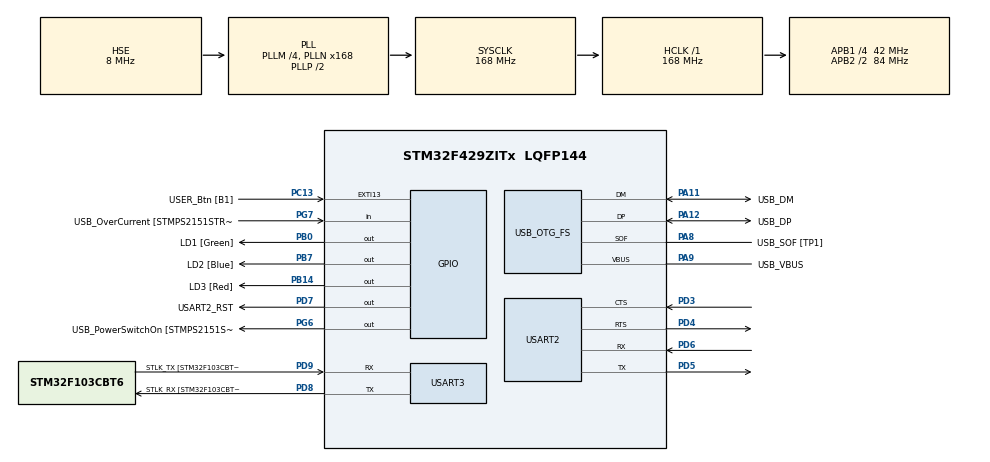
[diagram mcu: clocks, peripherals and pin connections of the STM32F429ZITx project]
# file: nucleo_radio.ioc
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Dma.Request0=USART2_RX
Dma.Request1=USART2_TX
Dma.USART2_RX.0.Direction=DMA_PERIPH_TO_MEMORY
Dma.USART2_RX.0.FIFOMode=DMA_FIFOMODE_DISABLE
Dma.USART2_RX.0.Instance=DMA1_Stream5
Dma.USART2_RX.0.MemDataAlignment=DMA_MDATAALIGN_BYTE
Dma.USART2_RX.0.MemInc=DMA_MINC_ENABLE
Dma.USART2_RX.0.Mode=DMA_NORMAL
Dma.USART2_RX.0.PeriphDataAlignment=DMA_PDATAALIGN_BYTE
Dma.USART2_RX.0.PeriphInc=DMA_PINC_DISABLE
Dma.USART2_RX.0.Priority=DMA_PRIORITY_LOW
Dma.USART2_TX.1.Direction=DMA_MEMORY_TO_PERIPH
Dma.USART2_TX.1.FIFOMode=DMA_FIFOMODE_DISABLE
Dma.USART2_TX.1.Instance=DMA1_Stream6
Dma.USART2_TX.1.MemDataAlignment=DMA_MDATAALIGN_BYTE
Dma.USART2_TX.1.MemInc=DMA_MINC_ENABLE
Dma.USART2_TX.1.Mode=DMA_NORMAL
Dma.USART2_TX.1.PeriphDataAlignment=DMA_PDATAALIGN_BYTE
Dma.USART2_TX.1.PeriphInc=DMA_PINC_DISABLE
Dma.USART2_TX.1.Priority=DMA_PRIORITY_LOW
Mcu.Family=STM32F4
Mcu.Name=STM32F429ZITx
Mcu.Package=LQFP144
NVIC.DMA1_Stream5_IRQn=true\:0\:0\:false\:true\:true\:1\:false\:true
NVIC.DMA1_Stream6_IRQn=true\:0\:0\:false\:true\:true\:2\:false\:true
NVIC.OTG_FS_IRQn=true\:0\:0\:false\:true\:true\:4\:false\:true
NVIC.PriorityGroup=NVIC_PRIORITYGROUP_4
NVIC.USART2_IRQn=true\:0\:0\:false\:true\:true\:3\:true\:true
PA1.GPIO_Label=RMII_REF_CLK [LAN8742A-CZ-TR_REFCLK0]
PA1.Signal=ETH_REF_CLK
PA10.GPIO_Label=USB_ID
PA10.Signal=USB_OTG_FS_ID
PA11.GPIO_Label=USB_DM
PA11.Mode=Device_Only
PA11.Signal=USB_OTG_FS_DM
PA12.GPIO_Label=USB_DP
PA12.Mode=Device_Only
PA12.Signal=USB_OTG_FS_DP
PA13.GPIO_Label=TMS
PA13.Mode=Serial_Wire
PA13.Signal=SYS_JTMS-SWDIO
PA14.GPIO_Label=TCK
PA14.Mode=Serial_Wire
PA14.Signal=SYS_JTCK-SWCLK
PA2.GPIO_Label=RMII_MDIO [LAN8742A-CZ-TR_MDIO]
PA2.Signal=ETH_MDIO
PA7.GPIO_Label=RMII_CRS_DV [LAN8742A-CZ-TR_CRS_DV]
PA7.Signal=ETH_CRS_DV
PA8.GPIO_Label=USB_SOF [TP1]
PA8.Mode=Activate_SOF_FS
PA8.Signal=USB_OTG_FS_SOF
PA9.GPIO_Label=USB_VBUS
PA9.Mode=Activate_VBUS
PA9.Signal=USB_OTG_FS_VBUS
PB0.GPIO_Label=LD1 [Green]
PB0.Signal=GPIO_Output
PB13.GPIO_Label=RMII_TXD1 [LAN8742A-CZ-TR_TXD1]
PB13.Signal=ETH_TXD1
PB14.GPIO_Label=LD3 [Red]
PB14.Signal=GPIO_Output
PB7.GPIO_Label=LD2 [Blue]
PB7.Signal=GPIO_Output
PC1.GPIO_Label=RMII_MDC [LAN8742A-CZ-TR_MDC]
PC1.Signal=ETH_MDC
PC13.GPIO_Label=USER_Btn [B1]
PC13.Signal=GPXTI13
PC14/OSC32_IN.Mode=LSE-External-Oscillator
PC14/OSC32_IN.Signal=RCC_OSC32_IN
PC15/OSC32_OUT.Mode=LSE-External-Oscillator
PC15/OSC32_OUT.Signal=RCC_OSC32_OUT
PC4.GPIO_Label=RMII_RXD0 [LAN8742A-CZ-TR_RXD0]
PC4.Signal=ETH_RXD0
PC5.GPIO_Label=RMII_RXD1 [LAN8742A-CZ-TR_RXD1]
PC5.Signal=ETH_RXD1
PD3.Mode=CTS_RTS
PD3.Signal=USART2_CTS
PD4.Mode=CTS_RTS
PD4.Signal=USART2_RTS
PD5.Mode=Asynchronous
PD5.Signal=USART2_TX
PD6.Mode=Asynchronous
PD6.Signal=USART2_RX
PD7.GPIO_Label=USART2_RST
PD7.GPIO_ModeDefaultOutputPP=GPIO_MODE_OUTPUT_OD
PD7.Signal=GPIO_Output
PD8.GPIO_Label=STLK_RX [STM32F103CBT6_PA3]
PD8.Mode=Asynchronous
PD8.Signal=USART3_TX
PD9.GPIO_Label=STLK_TX [STM32F103CBT6_PA2]
PD9.Mode=Asynchronous
PD9.Signal=USART3_RX
PG11.GPIO_Label=RMII_TX_EN [LAN8742A-CZ-TR_TXEN]
PG11.Signal=ETH_TX_EN
PG13.GPIO_Label=RMII_TXD0 [LAN8742A-CZ-TR_TXD0]
PG13.Signal=ETH_TXD0
PG6.GPIO_Label=USB_PowerSwitchOn [STMPS2151STR_EN]
PG6.Signal=GPIO_Output
PG7.GPIO_Label=USB_OverCurrent [STMPS2151STR_FAULT]
PG7.Signal=GPIO_Input
PH0/OSC_IN.GPIO_Label=MCO [STM32F103CBT6_PA8]
PH0/OSC_IN.Mode=HSE-External-Clock-Source
PH0/OSC_IN.Signal=RCC_OSC_IN
PH1/OSC_OUT.Mode=HSE-External-Clock-Source
PH1/OSC_OUT.Signal=RCC_OSC_OUT
ProjectManager.HeapSize=0x10000
ProjectManager.StackSize=0x10000
ProjectManager.TargetToolchain=STM32CubeIDE
RCC.48MHZClocksFreq_Value=48000000
RCC.AHBFreq_Value=168000000
RCC.APB1CLKDivider=RCC_HCLK_DIV4
RCC.APB1Freq_Value=42000000
RCC.APB1TimFreq_Value=84000000
RCC.APB2CLKDivider=RCC_HCLK_DIV2
RCC.APB2Freq_Value=84000000
RCC.APB2TimCLKDivider=2
RCC.APB2TimFreq_Value=168000000
RCC.CortexFreq_Value=168000000
RCC.HCLKFreq_Value=168000000
RCC.HSE_VALUE=8000000
RCC.HSI_VALUE=16000000
RCC.PLLM=4
RCC.PLLMUL=RCC_PLL_MUL9
RCC.PLLN=168
RCC.PLLQ=7
RCC.PRESCALERUSB=RCC_USBCLKSOURCE_PLL_DIV1_5
RCC.SYSCLKFreq_VALUE=168000000
RCC.SYSCLKSource=RCC_SYSCLKSOURCE_PLLCLK
RCC.SYSCLKSourceVirtual=RCC_SYSCLKSOURCE_PLLCLK
RCC.USBFreq_Value=48000000
RCC.VCOOutputFreq_Value=336000000
USART2.VirtualMode=VM_ASYNC
USART3.VirtualMode=VM_ASYNC
USB_DEVICE.CLASS_NAME_FS=CDC
USB_DEVICE.VirtualMode-CDC_FS=Cdc
USB_DEVICE.VirtualModeFS=Cdc_FS
USB_OTG_FS.VirtualMode=Device_Only
VP_USB_DEVICE_VS_USB_DEVICE_CDC_FS.Mode=CDC_FS
board=NUCLEO-F429ZI

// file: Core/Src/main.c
/* USER CODE BEGIN Header */
/**
  ******************************************************************************
  * @file           : main.c
  * @brief          : Main program body
  ******************************************************************************
  * @attention
  *
  * <h2><center>&copy; Copyright (c) 2022 STMicroelectronics.
  * All rights reserved.</center></h2>
  *
  * This software component is licensed by ST under Ultimate Liberty license
  * SLA0044, the "License"; You may not use this file except in compliance with
  * the License. You may obtain a copy of the License at:
  *                             www.st.com/SLA0044
  *
  ******************************************************************************
  */
/* USER CODE END Header */
#include <ateam_ext.h>
#include "main.h"
#include "usb_device.h"

UART_HandleTypeDef huart2;
UART_HandleTypeDef huart3;
DMA_HandleTypeDef hdma_usart2_rx;
DMA_HandleTypeDef hdma_usart2_tx;

void SystemClock_Config(void);
static void MX_GPIO_Init(void);
static void MX_DMA_Init(void);
static void MX_USART2_UART_Init(void);
static void MX_USART3_UART_Init(void);
static void MX_NVIC_Init(void);

int main(void)
{

  /* MCU Configuration--------------------------------------------------------*/

  /* Reset of all peripherals, Initializes the Flash interface and the Systick. */
  HAL_Init();

  /* Configure the system clock */
  SystemClock_Config();

  /* Initialize all configured peripherals */
  MX_GPIO_Init();
  MX_DMA_Init();
  MX_USART2_UART_Init();
  MX_USART3_UART_Init();
  MX_USB_DEVICE_Init();

  /* Initialize interrupts */
  MX_NVIC_Init();

  /* USER CODE BEGIN 2 */
  robot_entry(&huart2, &huart3);
  /* USER CODE END 2 */

  /* Infinite loop */
  while (1)
  {

  }
}

void SystemClock_Config(void)
{
  RCC_OscInitTypeDef RCC_OscInitStruct = {0};
  RCC_ClkInitTypeDef RCC_ClkInitStruct = {0};

  /** Configure the main internal regulator output voltage
  */
  __HAL_RCC_PWR_CLK_ENABLE();
  __HAL_PWR_VOLTAGESCALING_CONFIG(PWR_REGULATOR_VOLTAGE_SCALE1);
  /** Initializes the RCC Oscillators according to the specified parameters
  * in the RCC_OscInitTypeDef structure.
  */
  RCC_OscInitStruct.OscillatorType = RCC_OSCILLATORTYPE_HSE;
  RCC_OscInitStruct.HSEState = RCC_HSE_BYPASS;
  RCC_OscInitStruct.PLL.PLLState = RCC_PLL_ON;
  RCC_OscInitStruct.PLL.PLLSource = RCC_PLLSOURCE_HSE;
  RCC_OscInitStruct.PLL.PLLM = 4;
  RCC_OscInitStruct.PLL.PLLN = 168;
  RCC_OscInitStruct.PLL.PLLP = RCC_PLLP_DIV2;
  RCC_OscInitStruct.PLL.PLLQ = 7;
  if (HAL_RCC_OscConfig(&RCC_OscInitStruct) != HAL_OK)
  {
    Error_Handler();
  }
  /** Initializes the CPU, AHB and APB buses clocks
  */
  RCC_ClkInitStruct.ClockType = RCC_CLOCKTYPE_HCLK|RCC_CLOCKTYPE_SYSCLK
                              |RCC_CLOCKTYPE_PCLK1|RCC_CLOCKTYPE_PCLK2;
  RCC_ClkInitStruct.SYSCLKSource = RCC_SYSCLKSOURCE_PLLCLK;
  RCC_ClkInitStruct.AHBCLKDivider = RCC_SYSCLK_DIV1;
  RCC_ClkInitStruct.APB1CLKDivider = RCC_HCLK_DIV4;
  RCC_ClkInitStruct.APB2CLKDivider = RCC_HCLK_DIV2;

  if (HAL_RCC_ClockConfig(&RCC_ClkInitStruct, FLASH_LATENCY_5) != HAL_OK)
  {
    Error_Handler();
  }
}

/**
  * @brief NVIC Configuration.
  * @retval None
  */
static void MX_NVIC_Init(void)
{
  /* DMA1_Stream5_IRQn interrupt configuration */
  HAL_NVIC_SetPriority(DMA1_Stream5_IRQn, 0, 0);
  HAL_NVIC_EnableIRQ(DMA1_Stream5_IRQn);
  /* DMA1_Stream6_IRQn interrupt configuration */
  HAL_NVIC_SetPriority(DMA1_Stream6_IRQn, 0, 0);
  HAL_NVIC_EnableIRQ(DMA1_Stream6_IRQn);
  /* USART2_IRQn interrupt configuration */
  HAL_NVIC_SetPriority(USART2_IRQn, 0, 0);
  HAL_NVIC_EnableIRQ(USART2_IRQn);
  /* OTG_FS_IRQn interrupt configuration */
  HAL_NVIC_SetPriority(OTG_FS_IRQn, 0, 0);
  HAL_NVIC_EnableIRQ(OTG_FS_IRQn);
}

static void MX_USART2_UART_Init(void)
{

  huart2.Instance = USART2;
  huart2.Init.BaudRate = 115200;
  huart2.Init.WordLength = UART_WORDLENGTH_8B;
  huart2.Init.StopBits = UART_STOPBITS_1;
  huart2.Init.Parity = UART_PARITY_NONE;
  huart2.Init.Mode = UART_MODE_TX_RX;
  //huart2.Init.HwFlowCtl = UART_HWCONTROL_RTS_CTS;
  huart2.Init.HwFlowCtl = UART_HWCONTROL_NONE;
  huart2.Init.OverSampling = UART_OVERSAMPLING_16;
  if (HAL_UART_Init(&huart2) != HAL_OK)
  {
    Error_Handler();
  }

}

static void MX_USART3_UART_Init(void)
{

  huart3.Instance = USART3;
  huart3.Init.BaudRate = 115200;
  huart3.Init.WordLength = UART_WORDLENGTH_8B;
  huart3.Init.StopBits = UART_STOPBITS_1;
  huart3.Init.Parity = UART_PARITY_NONE;
  huart3.Init.Mode = UART_MODE_TX_RX;
  huart3.Init.HwFlowCtl = UART_HWCONTROL_NONE;
  huart3.Init.OverSampling = UART_OVERSAMPLING_16;
  if (HAL_UART_Init(&huart3) != HAL_OK)
  {
    Error_Handler();
  }

}

static void MX_DMA_Init(void)
{

  /* DMA controller clock enable */
  __HAL_RCC_DMA1_CLK_ENABLE();

}

static void MX_GPIO_Init(void)
{
  GPIO_InitTypeDef GPIO_InitStruct = {0};

  /* GPIO Ports Clock Enable */
  __HAL_RCC_GPIOC_CLK_ENABLE();
  __HAL_RCC_GPIOH_CLK_ENABLE();
  __HAL_RCC_GPIOA_CLK_ENABLE();
  __HAL_RCC_GPIOB_CLK_ENABLE();
  __HAL_RCC_GPIOD_CLK_ENABLE();
  __HAL_RCC_GPIOG_CLK_ENABLE();

  /*Configure GPIO pin Output Level */
  HAL_GPIO_WritePin(GPIOB, LD1_Pin|LD3_Pin|LD2_Pin, GPIO_PIN_RESET);

  /*Configure GPIO pin Output Level */
  HAL_GPIO_WritePin(USB_PowerSwitchOn_GPIO_Port, USB_PowerSwitchOn_Pin, GPIO_PIN_RESET);

  /*Configure GPIO pin Output Level */
  HAL_GPIO_WritePin(USART2_RST_GPIO_Port, USART2_RST_Pin, GPIO_PIN_RESET);

  /*Configure GPIO pin : USER_Btn_Pin */
  GPIO_InitStruct.Pin = USER_Btn_Pin;
  GPIO_InitStruct.Mode = GPIO_MODE_IT_RISING;
  GPIO_InitStruct.Pull = GPIO_NOPULL;
  HAL_GPIO_Init(USER_Btn_GPIO_Port, &GPIO_InitStruct);

  /*Configure GPIO pins : RMII_MDC_Pin RMII_RXD0_Pin RMII_RXD1_Pin */
  GPIO_InitStruct.Pin = RMII_MDC_Pin|RMII_RXD0_Pin|RMII_RXD1_Pin;
  GPIO_InitStruct.Mode = GPIO_MODE_AF_PP;
  GPIO_InitStruct.Pull = GPIO_NOPULL;
  GPIO_InitStruct.Speed = GPIO_SPEED_FREQ_VERY_HIGH;
  GPIO_InitStruct.Alternate = GPIO_AF11_ETH;
  HAL_GPIO_Init(GPIOC, &GPIO_InitStruct);

  /*Configure GPIO pins : RMII_REF_CLK_Pin RMII_MDIO_Pin RMII_CRS_DV_Pin */
  GPIO_InitStruct.Pin = RMII_REF_CLK_Pin|RMII_MDIO_Pin|RMII_CRS_DV_Pin;
  GPIO_InitStruct.Mode = GPIO_MODE_AF_PP;
  GPIO_InitStruct.Pull = GPIO_NOPULL;
  GPIO_InitStruct.Speed = GPIO_SPEED_FREQ_VERY_HIGH;
  GPIO_InitStruct.Alternate = GPIO_AF11_ETH;
  HAL_GPIO_Init(GPIOA, &GPIO_InitStruct);

  /*Configure GPIO pins : LD1_Pin LD3_Pin LD2_Pin */
  GPIO_InitStruct.Pin = LD1_Pin|LD3_Pin|LD2_Pin;
  GPIO_InitStruct.Mode = GPIO_MODE_OUTPUT_PP;
  GPIO_InitStruct.Pull = GPIO_NOPULL;
  GPIO_InitStruct.Speed = GPIO_SPEED_FREQ_LOW;
  HAL_GPIO_Init(GPIOB, &GPIO_InitStruct);

  /*Configure GPIO pin : RMII_TXD1_Pin */
  GPIO_InitStruct.Pin = RMII_TXD1_Pin;
  GPIO_InitStruct.Mode = GPIO_MODE_AF_PP;
  GPIO_InitStruct.Pull = GPIO_NOPULL;
  GPIO_InitStruct.Speed = GPIO_SPEED_FREQ_VERY_HIGH;
  GPIO_InitStruct.Alternate = GPIO_AF11_ETH;
  HAL_GPIO_Init(RMII_TXD1_GPIO_Port, &GPIO_InitStruct);

  /*Configure GPIO pin : USB_PowerSwitchOn_Pin */
  GPIO_InitStruct.Pin = USB_PowerSwitchOn_Pin;
  GPIO_InitStruct.Mode = GPIO_MODE_OUTPUT_PP;
  GPIO_InitStruct.Pull = GPIO_NOPULL;
  GPIO_InitStruct.Speed = GPIO_SPEED_FREQ_LOW;
  HAL_GPIO_Init(USB_PowerSwitchOn_GPIO_Port, &GPIO_InitStruct);

  /*Configure GPIO pin : USB_OverCurrent_Pin */
  GPIO_InitStruct.Pin = USB_OverCurrent_Pin;
  GPIO_InitStruct.Mode = GPIO_MODE_INPUT;
  GPIO_InitStruct.Pull = GPIO_NOPULL;
  HAL_GPIO_Init(USB_OverCurrent_GPIO_Port, &GPIO_InitStruct);

  /*Configure GPIO pin : USART2_RST_Pin */
  GPIO_InitStruct.Pin = USART2_RST_Pin;
  GPIO_InitStruct.Mode = GPIO_MODE_OUTPUT_OD;
  GPIO_InitStruct.Pull = GPIO_NOPULL;
  GPIO_InitStruct.Speed = GPIO_SPEED_FREQ_LOW;
  HAL_GPIO_Init(USART2_RST_GPIO_Port, &GPIO_InitStruct);

  /*Configure GPIO pins : RMII_TX_EN_Pin RMII_TXD0_Pin */
  GPIO_InitStruct.Pin = RMII_TX_EN_Pin|RMII_TXD0_Pin;
  GPIO_InitStruct.Mode = GPIO_MODE_AF_PP;
  GPIO_InitStruct.Pull = GPIO_NOPULL;
  GPIO_InitStruct.Speed = GPIO_SPEED_FREQ_VERY_HIGH;
  GPIO_InitStruct.Alternate = GPIO_AF11_ETH;
  HAL_GPIO_Init(GPIOG, &GPIO_InitStruct);

}

/* USER CODE BEGIN 4 */

int __io_putchar(int ch) {
	uint8_t c[1];
	c[0] = ch & 0x00FF;
	HAL_UART_Transmit(&huart3, &*c, 1, 10);

	return ch;
}

int __io_getchar(void) {
	uint8_t c[1];
	return HAL_UART_Receive(&huart3, &*c, 1, 10);

	return c[0];
}

void HAL_UART_TxCpltCallback(UART_HandleTypeDef *huart) {
	dma_transfer_complete_interrupt(huart);
}

void HAL_UART_RxCpltCallback(UART_HandleTypeDef *huart) {
  dma_receive_complete_interrupt(huart);
}

void HAL_UARTEx_RxEventCallback(UART_HandleTypeDef *huart, uint16_t size) {
  dma_receive_line_idle_interrupt(huart, size);
}

void HAL_UART_ErrorCallback(UART_HandleTypeDef *huart) {
	dma_error_interrupt(huart);
}

/* USER CODE END 4 */

void Error_Handler(void)
{
  __disable_irq();
  while (1)
  {
  }
}

/************************ (C) COPYRIGHT STMicroelectronics *****END OF FILE****/
